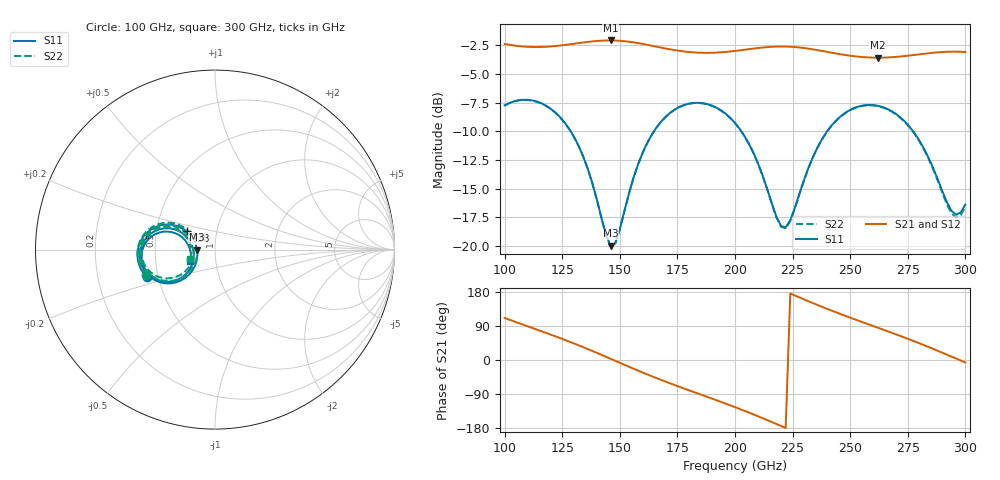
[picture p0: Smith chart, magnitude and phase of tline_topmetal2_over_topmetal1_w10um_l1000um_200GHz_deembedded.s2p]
! Created with skrf 2.0.1 (http://scikit-rf.org).
# GHz S DB R 50.0
!freq dBS11 angS11 dBS21 angS21 dBS12 angS12 dBS22 angS22
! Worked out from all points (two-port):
!   101 points, 100 GHz to 300 GHz, reference 50 ohm
!   highest |S21| = -2.09 dB at 146 GHz (marker M1); lowest = -3.6 dB at 262 GHz (marker M2)
!   |S21| within 3 dB of the highest: start of sweep to end of sweep
!   lowest |S11| = -20.0 dB at 146 GHz (marker M3), VSWR 1.22, Z = 40.9 + j0.0277 ohm
!   |S11| at or under -10 dB: 128.6 GHz to 164.9 GHz (36.24 GHz wide, 24.7 % of centre); 202.7 GHz to 240 GHz (37.3 GHz wide, 16.9 % of centre); 277.2 GHz to end of sweep
!   |S22| runs from -20.0 to -7.3 dB; largest |S21 - S12| = 8.9e-14
!   S11 on the Smith chart (normalised r, x): 100 GHz: 0.43, -0.16; 138 GHz: 0.71, +0.15; 300 GHz: 0.75, -0.10
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100  -7.75 -157.7  -2.40 111.0  -2.40 111.0  -7.77 -159.4
108  -7.26 -172.0  -2.61 93.3  -2.61 93.3  -7.27 -173.8
118  -7.78 170.8  -2.64 71.5  -2.64 71.5  -7.79 168.7
134  -12.15 148.0  -2.27 34.1  -2.27 34.1  -12.16 145.7
138  -14.48 147.1  -2.17 24.1  -2.17 24.1  -14.50 144.7
146  -19.99 179.8  -2.09 3.2  -2.09 3.2  -20.03 177.3
148  -19.77 -163.1  -2.10 -2.1  -2.10 -2.1  -19.81 -165.5
156  -14.03 -136.1  -2.25 -23.0  -2.25 -23.0  -14.05 -138.6
168  -9.15 -148.0  -2.71 -52.7  -2.71 -52.7  -9.16 -150.9
184  -7.52 -173.7  -3.15 -88.7  -3.15 -88.7  -7.54 -176.9
200  -9.28 161.8  -3.00 -124.4  -3.00 -124.4  -9.30 158.4
212  -13.87 153.2  -2.70 -153.5  -2.70 -153.5  -13.91 149.5
220  -18.27 178.3  -2.61 -174.1  -2.61 -174.1  -18.35 174.4
224  -17.77 -157.1  -2.63 175.4  -2.63 175.4  -17.84 -160.8
234  -12.17 -140.1  -2.87 149.7  -2.87 149.7  -12.20 -144.0
248  -8.38 -156.4  -3.36 116.3  -3.36 116.3  -8.40 -160.6
262  -7.78 -177.4  -3.59 85.2  -3.59 85.2  -7.81 178.0
268  -8.25 173.9  -3.55 71.9  -3.55 71.9  -8.29 169.1
278  -10.20 161.3  -3.35 48.9  -3.35 48.9  -10.25 156.2
286  -13.22 157.9  -3.16 29.4  -3.16 29.4  -13.31 152.5
294  -16.96 176.6  -3.06 9.0  -3.06 9.0  -17.19 171.3
300  -16.39 -154.8  -3.09 -6.6  -3.09 -6.6  -16.59 -159.2
